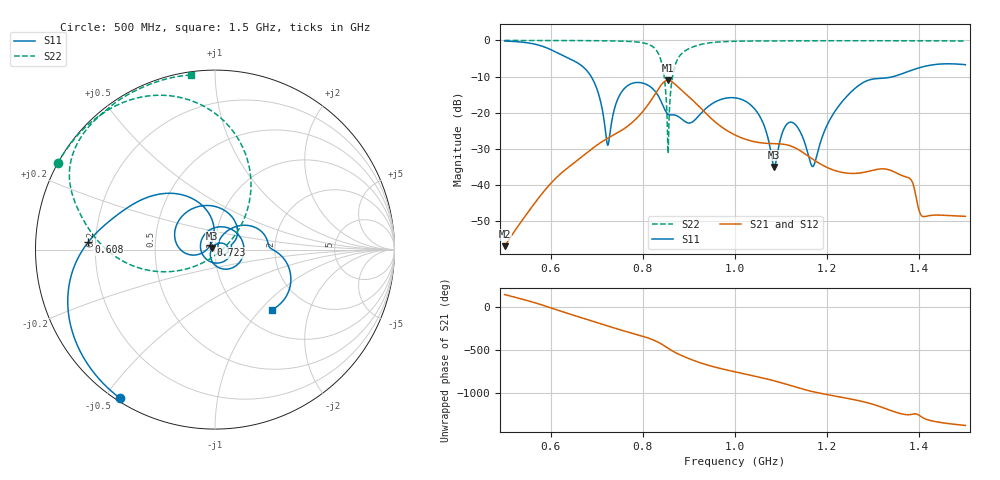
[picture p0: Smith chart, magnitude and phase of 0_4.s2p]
! TOUCHSTONE file generated by CST MICROWAVE STUDIO
! Date and time: Mon Sep 28 14:06:03 2020
! Project name: Scenario_1_Free_SPace.cst
! Parameters = {dx1=225.2; L_HA=400; MT=2.54; Rad_Dielectric=30; Rad_Lower=7.3; Rad_Upper=30; a_HA=580; a_WG=246; b_HA=500; b_WG=121; c_HA=0; c_WG=187; d_feed=85; h_feed=15; h_lower=18; h_upper=40}
! Header version: 2018
! Port assignment regex: !\s*Touchstone port\s*([0-9]+)\s*=\s*(CST MWS port|CST DS port)\s*([0-9]+|Zmin|Zmax)\s*\(\"(.*)\"\)(\s*mode\s*([0-9]+))?.*
! Touchstone port assignment:
! Touchstone port 1 = CST MWS port 1 ("")
! Touchstone port 2 = CST MWS port 2 ("")
# GHz S DB R 50
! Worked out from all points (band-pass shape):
!   1003 points, 500 MHz to 1.5 GHz, reference 50 ohm
!   highest |S21| = -11.03 dB at 854 MHz (marker M1); lowest = -57.0 dB at 500 MHz (marker M2)
!   |S21| within 3 dB of the highest: 830.8 MHz to 886.1 MHz (55.33 MHz wide, 6.45 % of centre)
!   lowest |S11| = -35.0 dB at 1.085 GHz (marker M3), VSWR 1.04, Z = 48.5 + j0.869 ohm
!   |S11| at or under -10 dB: 687.8 MHz to 1.344 GHz (655.9 MHz wide, 64.6 % of centre)
!   |S22| runs from -31.3 to 0.0 dB; largest |S21 - S12| = 8.3e-05
!   S11 on the Smith chart (normalised r, x): 500 MHz: 0.01, -0.55; 608 MHz: 0.17, +0.03; 723 MHz: 0.95, +0.05; 1.5 GHz: 1.36, -1.16
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0.5  -0.15 -122.7  -56.97 143.2  -56.97 143.2  -0.01 151.2
0.563  -0.96 -155.3  -45.45 52.1  -45.45 52.1  -0.01 146.9
0.608  -3.02 176.5  -38.54 -24.8  -38.54 -24.8  -0.02 143.5
0.667  -6.98 137.0  -32.29 -125.9  -32.29 -125.9  -0.04 138.4
0.7  -13.31 100.9  -29.03 178.3  -29.03 178.3  -0.07 134.8
0.723  -28.84 134.4  -27.15 138.7  -27.15 138.7  -0.11 131.9
0.764  -12.82 166.0  -24.03 74.1  -24.03 74.1  -0.23 124.6
0.834  -15.45 42.3  -13.39 -52.4  -13.39 -52.4  -3.73 79.9
0.844  -18.12 24.6  -11.72 -83.1  -11.71 -83.1  -8.14 59.3
0.854  -20.34 16.8  -11.03 -117.9  -11.03 -117.9  -28.27 -2.1
0.867  -20.63 -2.2  -11.81 -160.5  -11.81 -160.5  -8.29 -162.5
0.883  -21.63 -51.6  -13.67 157.5  -13.67 157.5  -3.81 176.6
1  -15.89 -10.1  -26.18 -34.5  -26.18 -34.5  -0.23 140.4
1.052  -20.63 -85.2  -28.28 -95.9  -28.28 -95.9  -0.15 134.1
1.085  -35.01 149.7  -28.58 -138.7  -28.58 -138.7  -0.14 131.0
1.121  -22.62 0.0  -29.23 165.2  -29.23 165.2  -0.13 127.9
1.167  -34.80 3.5  -32.73 97.7  -32.73 97.7  -0.09 124.3
1.238  -16.13 50.9  -36.67 23.5  -36.67 23.5  -0.08 118.8
1.334  -10.27 1.9  -35.82 -115.9  -35.82 -116.0  -0.09 111.5
1.381  -8.36 -6.8  -38.41 -170.8  -38.43 -170.7  -0.09 107.8
1.407  -7.32 -15.2  -48.71 154.1  -48.68 153.8  -0.10 105.8
1.5  -6.72 -46.5  -48.71 62.9  -48.72 62.9  -0.16 97.9
